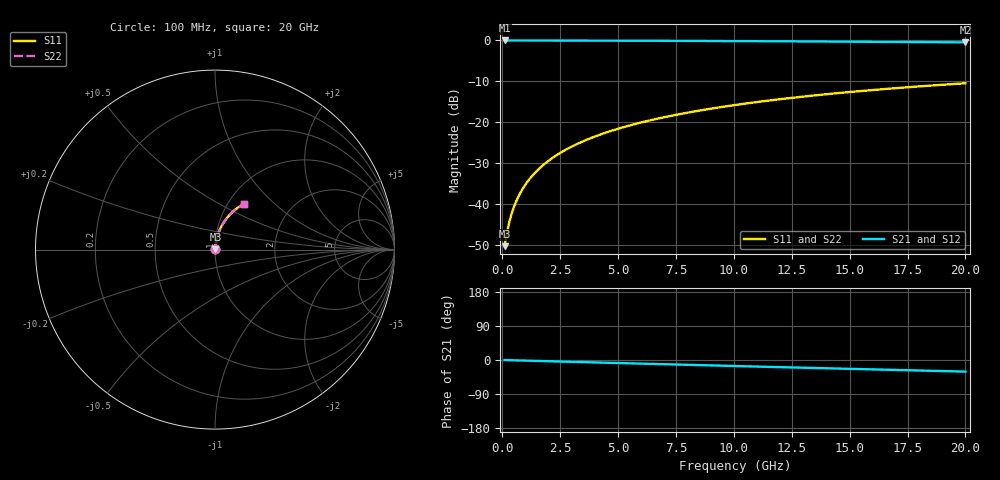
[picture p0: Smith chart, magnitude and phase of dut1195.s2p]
! Touchstone file exported from HFSS 2026.1.0
!  File:  C:/ffzhzh/LocalFiles/Ansys_Project_Files/temp_train_TMRDL_1195_1783162877_43440.aedt
!  Generated:  07:02:36 PM Jul  4, 2026
!  Design:  TMRDL
!  Project:  temp_train_TMRDL_1195_1783162877_43440
! Variables:
!  h_bsmrdl = 2um
!  h_ox = 20um
!  h_rdl = 5um
!  h_sub = 80um
!  h_tmrdl = 3.28um
!  h_tsv = 80um
!  h_via = 3um
!  l_bsmrdl = 300um
!  l_sub = 820.05um
!  l_tmrdl = 420.05um
!  m_sub = 200um
!  pitch = 45.26um
!  r_tsv = 6um
!  s_tmrdl = 10um
!  w_bsmrdl = 18um
!  w_sub = 500um
!  w_tmrdl = 20.08um
!  x_tsv_center1 = 430.09um
!  x_tsv_center2 = 748.09um
!  x_tsv_center3 = 1188.22um
!  x_tsv_center4 = 1506.22um
!  x_tsv_center5 = 1946.35um
!  x_tsv_center6 = 2264.35um
# GHz S MA R 50.000000
! Terminal data exported
! Port[1] = TM_RDL1_1_T1
! Port[2] = TM_RDL1_1_T2
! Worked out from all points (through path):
!   200 points, 100 MHz to 20 GHz, reference 50 ohm
!   highest |S21| = -0.02 dB at 100 MHz (marker M1); lowest = -0.5 dB at 20 GHz (marker M2)
!   group delay of S21, straight-line fit = 4.26 ps
!   lowest |S11| = -50.2 dB at 100 MHz (marker M3), VSWR 1.01, Z = 50.2 + j0.184 ohm
!   |S11| at or under -10 dB: start of sweep to end of sweep
!   |S22| runs from -50.2 to -10.5 dB; largest |S21 - S12| = 4.1e-15
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0.1  0.003076 36.6  0.9975 -0.2  0.9975 -0.2  0.003076 36.6
! Gamma 0 0 0 0
! Port Impedance 50 0 50 0
0.2  0.004447 54.6  0.9974 -0.3  0.9974 -0.3  0.004447 54.6
0.3  0.006009 63.2  0.9973 -0.5  0.9973 -0.5  0.006009 63.2
0.4  0.007613 68.1  0.9972 -0.7  0.9972 -0.7  0.007613 68.1
0.5  0.009226 71.2  0.9971 -0.8  0.9971 -0.8  0.009227 71.2
0.6  0.01085 73.5  0.997 -1.0  0.997 -1.0  0.01085 73.5
0.8  0.0141 76.4  0.9969 -1.3  0.9969 -1.3  0.0141 76.4
1.1  0.01903 78.8  0.9967 -1.8  0.9967 -1.8  0.01903 78.8
1.3  0.02233 79.8  0.9966 -2.1  0.9966 -2.1  0.02233 79.8
1.6  0.0273 80.6  0.9964 -2.6  0.9964 -2.6  0.0273 80.6
2.1  0.03561 81.2  0.996 -3.4  0.996 -3.4  0.03561 81.2
2.7  0.04558 81.2  0.9955 -4.4  0.9955 -4.4  0.04558 81.2
3.5  0.05881 80.7  0.9945 -5.6  0.9945 -5.6  0.05881 80.7
4.2  0.07032 80.0  0.9935 -6.8  0.9935 -6.8  0.07032 80.0
5  0.08337 79.0  0.9922 -8.0  0.9922 -8.0  0.08337 79.0
5.9  0.0979 77.8  0.9905 -9.5  0.9905 -9.5  0.0979 77.8
6.8  0.1123 76.6  0.9886 -10.9  0.9886 -10.9  0.1123 76.5
8.3  0.1358 74.4  0.9851 -13.2  0.9851 -13.2  0.1358 74.4
10.1  0.1633 71.8  0.9802 -16.0  0.9802 -16.0  0.1633 71.8
13.4  0.2117 67.0  0.9699 -21.0  0.9699 -21.0  0.2117 67.0
16.7  0.2572 62.3  0.9581 -25.9  0.9581 -25.9  0.2572 62.3
20  0.2996 57.7  0.9452 -30.6  0.9452 -30.6  0.2996 57.7
